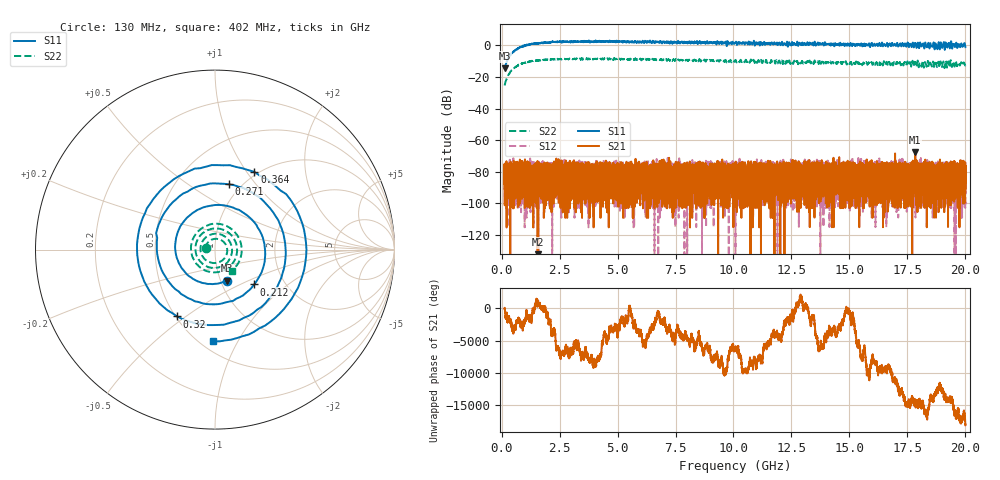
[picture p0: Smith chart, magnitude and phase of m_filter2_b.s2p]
!Created with skrf (http://scikit-rf.org).
# GHz S RI R 50.0
!freq ReS11 ImS11 ReS21 ImS21 ReS12 ImS12 ReS22 ImS22
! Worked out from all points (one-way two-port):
!   20013 points, 130 MHz to 20 GHz, reference 50 ohm
!   highest |S21| = -67.54 dB at 17.84 GHz (marker M1); lowest = -178.6 dB at 1.577 GHz (marker M2)
!   lowest |S11| = -14.7 dB at 130 MHz (marker M3), VSWR 1.45, Z = 53.4 - j19.1 ohm
!   |S11| at or under -10 dB: start of sweep to 239.7 MHz
!   |S22| runs from -25.5 to -8.2 dB; largest |S21 - S12| = 0.00043
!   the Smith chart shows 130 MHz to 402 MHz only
!   S11 on the Smith chart (normalised r, x): 130 MHz: 1.07, -0.38; 212 MHz: 1.41, -0.60; 271 MHz: 0.88, +0.74; 320 MHz: 0.51, -0.46; 364 MHz: 0.96, +1.09; 402 MHz: 0.58, -0.80
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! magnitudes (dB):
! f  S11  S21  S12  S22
! 130 MHz  -14.7  -87.8  -85.2  -25.5
! 212 MHz  -10.7  -79.5  -82.6  -21.5
! 271 MHz  -8.6  -86.1  -79.1  -19.5
! 320 MHz  -7.4  -85.5  -80.1  -18.1
! 364 MHz  -6.3  -80.2  -77.0  -17.2
! 402 MHz  -5.8  -79.0  -78.5  -16.4
! 583 MHz  -3.3  -83.9  -92.4  -13.9
! 838 MHz  -1.3  -82.1  -78.9  -11.9
! 1.577 GHz  0.9  -178.6  -80.0  -9.7
! 3.442 GHz  2.7  -86.2  -85.9  -8.5
! 6.754 GHz  1.8  -77.0  -79.9  -9.1
! 10.06 GHz  1.6  -79.8  -81.1  -9.9
! 13.38 GHz  0.5  -88.5  -77.6  -10.3
! 16.69 GHz  0.5  -82.1  -85.5  -11.2
! 17.84 GHz  1.3  -67.5  -85.3  -10.8
! 18.72 GHz  0.5  -83.5  -78.3  -11.0
! 19.42 GHz  -1.7  -86.2  -87.4  -13.8
! 19.47 GHz  0.8  -85.4  -84.2  -10.3
! 19.53 GHz  -0.1  -78.3  -78.2  -13.4
! 19.59 GHz  0.9  -84.2  -86.9  -10.2
! 19.88 GHz  -1.0  -88.8  -76.5  -12.7
! 20 GHz  -1.1  -86.8  -100.9  -12.7
